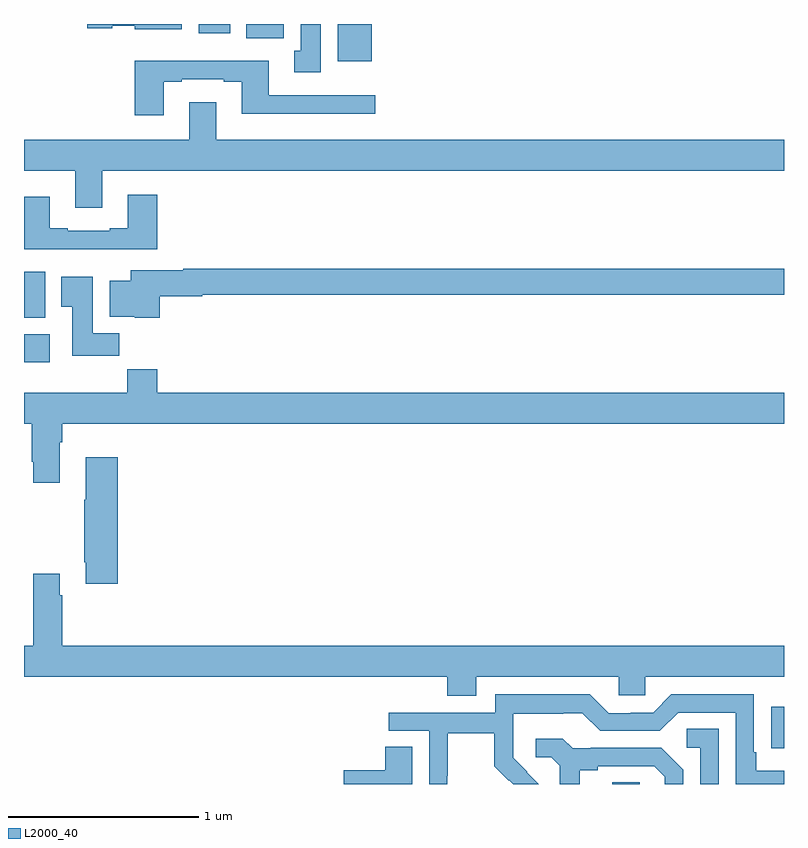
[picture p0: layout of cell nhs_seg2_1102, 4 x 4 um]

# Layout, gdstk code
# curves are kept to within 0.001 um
import gdstk
lib = gdstk.Library(unit=1e-6, precision=1e-09)
def R(c, l, rs):  # rectangles x0, y0, x1, y1
    for r in rs: c.add(gdstk.rectangle(r[:2], r[2:], *l))
def P(c, l, *ps):  # polygons
    for p in ps: c.add(gdstk.Polygon(p, *l))
L2000_40 = (2000, 40)

nhs_seg2_1102 = lib.new_cell('nhs_seg2_1102')
R(nhs_seg2_1102, L2000_40, [(172.097,585.8,172.242,585.809), (172.933,585.988,173,586.207), (169,588.02,169.135,588.166), (169,588.254,169.111,588.496), (170.651,589.604,170.83,589.8), (170.171,589.724,170.368,589.8), (169.919,589.752,170.086,589.8)])
P(nhs_seg2_1102, L2000_40, [(170.563,589.8),(170.456,589.8),(170.456,589.658),(170.423,589.658),(170.423,589.545),(170.563,589.545)],
  [(169.831,589.8),(169.332,589.8),(169.332,589.778),(169.464,589.778),(169.464,589.79),(169.584,589.79),(169.584,589.772),(169.831,589.772)],
  [(169.735,589.497),(169.831,589.497),(169.831,589.509),(170.051,589.509),(170.051,589.497),(170.147,589.497),(170.147,589.328),(170.848,589.328),(170.848,589.425),(170.287,589.425),(170.287,589.606),(169.583,589.606),(169.583,589.32),(169.735,589.32)],
  [(169.411,589.028),(173,589.028),(173,589.192),(170.011,589.192),(170.011,589.387),(169.871,589.387),(169.871,589.192),(169,589.192),(169,589.028),(169.271,589.028),(169.271,588.834),(169.411,588.834)],
  [(169.7,588.901),(169.547,588.901),(169.547,588.724),(169.451,588.724),(169.451,588.711),(169.231,588.711),(169.231,588.724),(169.135,588.724),(169.135,588.892),(169,588.892),(169,588.614),(169.7,588.614)],
  [(169.715,588.368),(169.938,588.368),(169.938,588.376),(173,588.376),(173,588.512),(169.838,588.512),(169.838,588.505),(169.562,588.505),(169.562,588.448),(169.451,588.448),(169.451,588.26),(169.584,588.26),(169.584,588.254),(169.715,588.254)],
  [(169.502,588.172),(169.363,588.172),(169.363,588.469),(169.196,588.469),(169.196,588.313),(169.253,588.313),(169.253,588.054),(169.502,588.054)],
  [(169.189,587.6),(169.202,587.6),(169.202,587.696),(173,587.696),(173,587.86),(169.7,587.86),(169.7,587.984),(169.543,587.984),(169.543,587.86),(169,587.86),(169,587.696),(169.042,587.696),(169.042,587.497),(169.049,587.497),(169.049,587.385),(169.189,587.385)],
  [(169.493,587.521),(169.325,587.521),(169.325,587.297),(169.318,587.297),(169.318,586.966),(169.325,586.966),(169.325,586.854),(169.493,586.854)],
  [(171.379,586.364),(172.131,586.364),(172.131,586.266),(172.269,586.266),(172.269,586.364),(173,586.364),(173,586.528),(169.202,586.528),(169.202,586.793),(169.189,586.793),(169.189,586.906),(169.049,586.906),(169.049,586.528),(169,586.528),(169,586.364),(171.227,586.364),(171.227,586.265),(171.379,586.265)],
  [(171.228,585.844),(171.231,585.844),(171.231,586.068),(171.475,586.068),(171.475,585.893),(171.552,585.816),(171.555,585.819),(171.574,585.8),(171.71,585.8),(171.574,585.938),(171.574,586.035),(171.576,586.035),(171.576,586.169),(171.839,586.169),(171.839,586.173),(171.939,586.173),(172.032,586.08),(172.347,586.08),(172.443,586.176),(172.746,586.176),(172.746,585.8),(173,585.8),(173,585.87),(172.855,585.87),(172.855,585.967),(172.842,585.967),(172.842,586.272),(172.407,586.272),(172.311,586.176),(172.193,586.176),(172.193,586.173),(172.077,586.173),(171.977,586.273),(171.48,586.273),(171.48,586.176),(170.919,586.176),(170.919,586.08),(171.132,586.08),(171.132,585.8),(171.228,585.8)],
  [(172.656,586.091),(172.488,586.091),(172.488,585.99),(172.56,585.99),(172.56,585.8),(172.656,585.8)],
  [(171.925,585.872),(172.021,585.872),(172.021,585.894),(172.316,585.894),(172.373,585.837),(172.373,585.8),(172.47,585.8),(172.47,585.874),(172.354,585.99),(171.982,585.99),(171.982,585.987),(171.888,585.987),(171.836,586.039),(171.693,586.039),(171.693,585.942),(171.774,585.942),(171.821,585.895),(171.821,585.8),(171.925,585.8)],
  [(171.043,585.995),(170.9,585.995),(170.9,585.872),(170.682,585.872),(170.682,585.8),(171.043,585.8)])

lib.write_gds('nhs_seg2_1102.gds')
